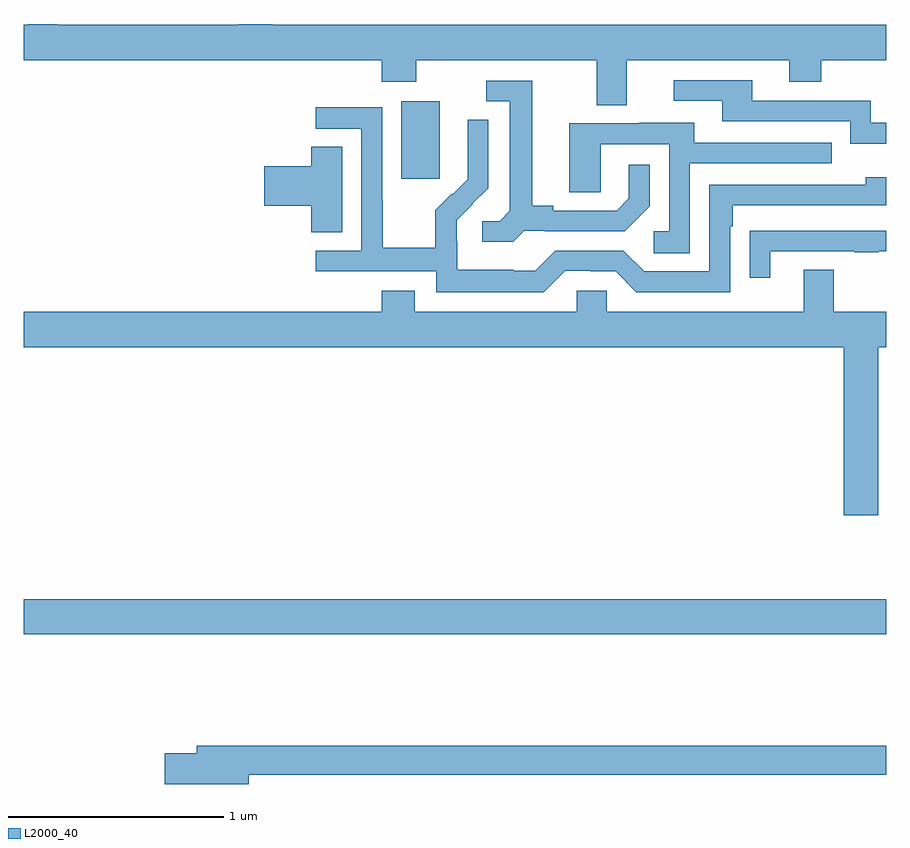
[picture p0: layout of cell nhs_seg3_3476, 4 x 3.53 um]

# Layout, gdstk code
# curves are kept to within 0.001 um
import gdstk
lib = gdstk.Library(unit=1e-6, precision=1e-09)
def R(c, l, rs):  # rectangles x0, y0, x1, y1
    for r in rs: c.add(gdstk.rectangle(r[:2], r[2:], *l))
def P(c, l, *ps):  # polygons
    for p in ps: c.add(gdstk.Polygon(p, *l))
L2000_40 = (2000, 40)

nhs_seg3_3476 = lib.new_cell('nhs_seg3_3476')
R(nhs_seg3_3476, L2000_40, [(291,715.568,295,715.732), (292.751,717.681,292.93,718.042)])
P(nhs_seg3_3476, L2000_40, [(293.797,718.232),(294.551,718.232),(294.551,718.133),(294.699,718.133),(294.699,718.232),(295,718.232),(295,718.396),(292.154,718.396),(292.154,718.4),(291.994,718.4),(291.994,718.396),(291.157,718.396),(291.157,718.4),(291.017,718.4),(291.017,718.396),(291,718.396),(291,718.232),(292.661,718.232),(292.661,718.133),(292.821,718.133),(292.821,718.232),(293.657,718.232),(293.657,718.024),(293.797,718.024)],
  [(295,717.942),(294.93,717.942),(294.93,718.044),(294.379,718.044),(294.379,718.14),(294.015,718.14),(294.015,718.044),(294.239,718.044),(294.239,717.948),(294.834,717.948),(294.834,717.845),(295,717.845)],
  [(293.322,717.441),(293.416,717.441),(293.416,717.438),(293.788,717.438),(293.904,717.554),(293.904,717.748),(293.807,717.748),(293.807,717.591),(293.75,717.534),(293.455,717.534),(293.455,717.557),(293.359,717.557),(293.359,718.137),(293.145,718.137),(293.145,718.041),(293.255,718.041),(293.255,717.533),(293.208,717.486),(293.127,717.486),(293.127,717.389),(293.27,717.389)],
  [(293.511,717.255),(293.627,717.255),(293.627,717.252),(293.745,717.252),(293.841,717.156),(294.276,717.156),(294.276,717.461),(294.289,717.461),(294.289,717.558),(295,717.558),(295,717.688),(294.905,717.688),(294.905,717.654),(294.18,717.654),(294.18,717.252),(293.877,717.252),(293.781,717.348),(293.466,717.348),(293.373,717.255),(293.273,717.255),(293.273,717.259),(293.01,717.259),(293.01,717.393),(293.008,717.393),(293.008,717.49),(293.154,717.638),(293.154,717.956),(293.058,717.956),(293.058,717.802),(293.06,717.802),(293.06,717.68),(292.989,717.609),(292.986,717.612),(292.909,717.535),(292.909,717.361),(292.665,717.361),(292.665,717.584),(292.662,717.584),(292.662,718.014),(292.353,718.014),(292.353,717.915),(292.566,717.915),(292.566,717.348),(292.353,717.348),(292.353,717.252),(292.914,717.252),(292.914,717.155),(293.411,717.155)],
  [(294.09,717.753),(294.749,717.753),(294.749,717.849),(294.109,717.849),(294.109,717.943),(293.855,717.943),(293.855,717.939),(293.531,717.939),(293.531,717.619),(293.676,717.619),(293.676,717.843),(293.994,717.843),(293.994,717.438),(293.922,717.438),(293.922,717.337),(294.09,717.337)],
  [(292.477,717.83),(292.334,717.83),(292.334,717.74),(292.116,717.74),(292.116,717.557),(292.334,717.557),(292.334,717.433),(292.477,717.433)],
  [(294.463,717.345),(294.853,717.345),(294.853,717.34),(294.965,717.34),(294.965,717.345),(295,717.345),(295,717.441),(294.469,717.441),(294.469,717.44),(294.367,717.44),(294.367,717.222),(294.463,717.222)],
  [(294.963,716.9),(295,716.9),(295,717.064),(294.757,717.064),(294.757,717.259),(294.617,717.259),(294.617,717.064),(293.703,717.064),(293.703,717.162),(293.565,717.162),(293.565,717.064),(292.813,717.064),(292.813,717.163),(292.661,717.163),(292.661,717.064),(291,717.064),(291,716.9),(294.803,716.9),(294.803,716.121),(294.963,716.121)],
  [(292.042,714.916),(295,714.916),(295,715.052),(291.803,715.052),(291.803,715.016),(291.654,715.016),(291.654,714.874),(292.042,714.874)])

lib.write_gds('nhs_seg3_3476.gds')
